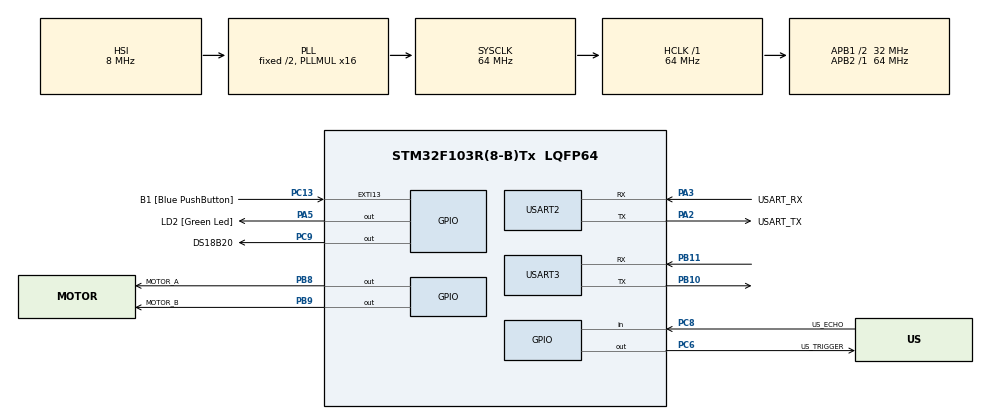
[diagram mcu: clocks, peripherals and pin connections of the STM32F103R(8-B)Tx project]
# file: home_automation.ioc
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Mcu.Family=STM32F1
Mcu.Name=STM32F103R(8-B)Tx
Mcu.Package=LQFP64
NVIC.EXTI15_10_IRQn=true\:0\:0\:false\:false\:true\:true\:true
NVIC.PriorityGroup=NVIC_PRIORITYGROUP_4
NVIC.USART2_IRQn=true\:0\:0\:false\:false\:true\:true\:true
NVIC.USART3_IRQn=true\:0\:0\:false\:false\:true\:true\:true
PA13.GPIO_Label=TMS
PA13.Mode=Serial_Wire
PA13.Signal=SYS_JTMS-SWDIO
PA14.GPIO_Label=TCK
PA14.Mode=Serial_Wire
PA14.Signal=SYS_JTCK-SWCLK
PA2.GPIO_Label=USART_TX
PA2.GPIO_Mode=GPIO_MODE_AF_PP
PA2.GPIO_PuPd=GPIO_NOPULL
PA2.GPIO_Speed=GPIO_SPEED_FREQ_LOW
PA2.Mode=Asynchronous
PA2.Signal=USART2_TX
PA3.GPIO_Label=USART_RX
PA3.GPIO_Mode=GPIO_MODE_AF_PP
PA3.GPIO_PuPd=GPIO_NOPULL
PA3.GPIO_Speed=GPIO_SPEED_FREQ_LOW
PA3.Mode=Asynchronous
PA3.Signal=USART2_RX
PA5.GPIO_Label=LD2 [Green Led]
PA5.GPIO_ModeDefaultOutputPP=GPIO_MODE_OUTPUT_PP
PA5.GPIO_PuPd=GPIO_NOPULL
PA5.GPIO_Speed=GPIO_SPEED_FREQ_LOW
PA5.Signal=GPIO_Output
PB10.Mode=Asynchronous
PB10.Signal=USART3_TX
PB11.Mode=Asynchronous
PB11.Signal=USART3_RX
PB3.GPIO_Label=SWO
PB3.Signal=SYS_JTDO-TRACESWO
PB8.GPIO_Label=MOTOR_A
PB8.Signal=GPIO_Output
PB9.GPIO_Label=MOTOR_B
PB9.Signal=GPIO_Output
PC13-TAMPER-RTC.GPIO_Label=B1 [Blue PushButton]
PC13-TAMPER-RTC.GPIO_PuPd=GPIO_NOPULL
PC13-TAMPER-RTC.Signal=GPXTI13
PC14-OSC32_IN.Mode=LSE-External-Oscillator
PC14-OSC32_IN.Signal=RCC_OSC32_IN
PC15-OSC32_OUT.Mode=LSE-External-Oscillator
PC15-OSC32_OUT.Signal=RCC_OSC32_OUT
PC6.GPIO_Label=US_TRIGGER
PC6.Signal=GPIO_Output
PC8.GPIO_Label=US_ECHO
PC8.Signal=GPIO_Input
PC9.GPIO_Label=DS18B20
PC9.Signal=GPIO_Output
PD0-OSC_IN.Mode=HSE-External-Clock-Source
PD0-OSC_IN.Signal=RCC_OSC_IN
PD1-OSC_OUT.Mode=HSE-External-Clock-Source
PD1-OSC_OUT.Signal=RCC_OSC_OUT
ProjectManager.HeapSize=0x200
ProjectManager.StackSize=0x400
ProjectManager.TargetToolchain=STM32CubeIDE
RCC.AHBFreq_Value=64000000
RCC.APB1CLKDivider=RCC_HCLK_DIV2
RCC.APB1Freq_Value=32000000
RCC.APB1TimFreq_Value=64000000
RCC.APB2Freq_Value=64000000
RCC.APB2TimFreq_Value=64000000
RCC.HCLKFreq_Value=64000000
RCC.PLLMUL=RCC_PLL_MUL16
RCC.RTCClockSelection=RCC_RTCCLKSOURCE_LSE
RCC.SYSCLKFreq_VALUE=64000000
RCC.SYSCLKSource=RCC_SYSCLKSOURCE_PLLCLK
RCC.USBFreq_Value=64000000
TIM3.Period=65535
TIM3.Prescaler=63
USART2.VirtualMode=VM_ASYNC
USART3.VirtualMode=VM_ASYNC
VP_TIM3_VS_ClockSourceINT.Mode=Internal
board=NUCLEO-F103RB

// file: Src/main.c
/* USER CODE BEGIN Header */
/**
  ******************************************************************************
  * @file           : main.c
  * @brief          : Main program body
  ******************************************************************************
  * @attention
  *
  * <h2><center>&copy; Copyright (c) 2020 STMicroelectronics.
  * All rights reserved.</center></h2>
  *
  * This software component is licensed by ST under BSD 3-Clause license,
  * the "License"; You may not use this file except in compliance with the
  * License. You may obtain a copy of the License at:
  *                        opensource.org/licenses/BSD-3-Clause
  *
  ******************************************************************************
  */
/* USER CODE END Header */

#include "main.h"

/* USER CODE BEGIN Includes */
#include "onewire.h"
#include "ds18b20.h"
#include "string.h"
/* USER CODE END Includes */

/* USER CODE BEGIN PD */
#define MOTOR_OPEN_COMMAND		('a')
#define MOTOR_CLOSE_COMMAND		('b')
#define MOTOR_HOLD_COMMAND		('c')
/* USER CODE END PD */

TIM_HandleTypeDef htim3;

UART_HandleTypeDef huart2;
UART_HandleTypeDef huart3;

/* USER CODE BEGIN PV */
volatile uint8_t Received;
char motor_command;

float temperature;
char message[64];

uint32_t sensor_time;
uint32_t distance;

/* USER CODE END PV */

void SystemClock_Config(void);
static void MX_GPIO_Init(void);
static void MX_USART2_UART_Init(void);
static void MX_USART3_UART_Init(void);
static void MX_TIM3_Init(void);
/* USER CODE BEGIN PFP */
void motor_open(void);
void motor_close(void);
void motor_hold(void);

void delay (uint32_t us);
uint32_t hcsr04_read (void);

/* USER CODE END PFP */

int main(void)
{

  /* MCU Configuration--------------------------------------------------------*/

  /* Reset of all peripherals, Initializes the Flash interface and the Systick. */
  HAL_Init();

  /* Configure the system clock */
  SystemClock_Config();

  /* Initialize all configured peripherals */
  MX_GPIO_Init();
  MX_USART2_UART_Init();
  MX_USART3_UART_Init();
  MX_TIM3_Init();
  /* USER CODE BEGIN 2 */
  HAL_TIM_Base_Start(&htim3);
  HAL_UART_Receive_IT(&huart3, &Received, 1);
  DS18B20_Init(DS18B20_Resolution_12bits);

  /* USER CODE END 2 */

  /* Infinite loop */
  while (1)
  {

    /* USER CODE BEGIN 3 */
	  sensor_time = hcsr04_read();
	  distance  = sensor_time * .034/2;

	  DS18B20_ReadAll();
      DS18B20_StartAll();

      uint8_t ROM_tmp[1];
      uint8_t i;
      for(i = 0; i < DS18B20_Quantity(); i++)
      {
    	  if(DS18B20_GetTemperature(i, &temperature))
    	  {
    		  DS18B20_GetROM(i, ROM_tmp);
    		  memset(message, 0, sizeof(message));
    		  sprintf(message, "%u,%f", distance, temperature);
    		  HAL_UART_Transmit(&huart3, (uint8_t*)message, sizeof(message), 100); //uart to nodeMCU
    		  HAL_UART_Transmit(&huart2, (uint8_t*)message, sizeof(message), 100); //uart to port monitor
			}
		}
      HAL_UART_Transmit(&huart3, (uint8_t*)"\n", sizeof("\n"), 100);
      HAL_UART_Transmit(&huart2, (uint8_t*)"\n", sizeof("\n"), 100);
      HAL_Delay(1000);

      if(MOTOR_OPEN_COMMAND == motor_command && distance > 20)
      {
    	  motor_hold();
      }

      if(MOTOR_CLOSE_COMMAND == motor_command && distance < 5)
      {
    	  motor_hold();
      }
  }
  /* USER CODE END 3 */
}

void SystemClock_Config(void)
{
  RCC_OscInitTypeDef RCC_OscInitStruct = {0};
  RCC_ClkInitTypeDef RCC_ClkInitStruct = {0};

  /** Initializes the CPU, AHB and APB busses clocks
  */
  RCC_OscInitStruct.OscillatorType = RCC_OSCILLATORTYPE_HSI;
  RCC_OscInitStruct.HSIState = RCC_HSI_ON;
  RCC_OscInitStruct.HSICalibrationValue = RCC_HSICALIBRATION_DEFAULT;
  RCC_OscInitStruct.PLL.PLLState = RCC_PLL_ON;
  RCC_OscInitStruct.PLL.PLLSource = RCC_PLLSOURCE_HSI_DIV2;
  RCC_OscInitStruct.PLL.PLLMUL = RCC_PLL_MUL16;
  if (HAL_RCC_OscConfig(&RCC_OscInitStruct) != HAL_OK)
  {
    Error_Handler();
  }
  /** Initializes the CPU, AHB and APB busses clocks
  */
  RCC_ClkInitStruct.ClockType = RCC_CLOCKTYPE_HCLK|RCC_CLOCKTYPE_SYSCLK
                              |RCC_CLOCKTYPE_PCLK1|RCC_CLOCKTYPE_PCLK2;
  RCC_ClkInitStruct.SYSCLKSource = RCC_SYSCLKSOURCE_PLLCLK;
  RCC_ClkInitStruct.AHBCLKDivider = RCC_SYSCLK_DIV1;
  RCC_ClkInitStruct.APB1CLKDivider = RCC_HCLK_DIV2;
  RCC_ClkInitStruct.APB2CLKDivider = RCC_HCLK_DIV1;

  if (HAL_RCC_ClockConfig(&RCC_ClkInitStruct, FLASH_LATENCY_2) != HAL_OK)
  {
    Error_Handler();
  }
}

static void MX_TIM3_Init(void)
{

  TIM_ClockConfigTypeDef sClockSourceConfig = {0};
  TIM_MasterConfigTypeDef sMasterConfig = {0};

  htim3.Instance = TIM3;
  htim3.Init.Prescaler = 63;
  htim3.Init.CounterMode = TIM_COUNTERMODE_UP;
  htim3.Init.Period = 65535;
  htim3.Init.ClockDivision = TIM_CLOCKDIVISION_DIV1;
  htim3.Init.AutoReloadPreload = TIM_AUTORELOAD_PRELOAD_DISABLE;
  if (HAL_TIM_Base_Init(&htim3) != HAL_OK)
  {
    Error_Handler();
  }
  sClockSourceConfig.ClockSource = TIM_CLOCKSOURCE_INTERNAL;
  if (HAL_TIM_ConfigClockSource(&htim3, &sClockSourceConfig) != HAL_OK)
  {
    Error_Handler();
  }
  sMasterConfig.MasterOutputTrigger = TIM_TRGO_RESET;
  sMasterConfig.MasterSlaveMode = TIM_MASTERSLAVEMODE_DISABLE;
  if (HAL_TIMEx_MasterConfigSynchronization(&htim3, &sMasterConfig) != HAL_OK)
  {
    Error_Handler();
  }

}

static void MX_USART2_UART_Init(void)
{

  huart2.Instance = USART2;
  huart2.Init.BaudRate = 115200;
  huart2.Init.WordLength = UART_WORDLENGTH_8B;
  huart2.Init.StopBits = UART_STOPBITS_1;
  huart2.Init.Parity = UART_PARITY_NONE;
  huart2.Init.Mode = UART_MODE_TX_RX;
  huart2.Init.HwFlowCtl = UART_HWCONTROL_NONE;
  huart2.Init.OverSampling = UART_OVERSAMPLING_16;
  if (HAL_UART_Init(&huart2) != HAL_OK)
  {
    Error_Handler();
  }

}

static void MX_USART3_UART_Init(void)
{

  huart3.Instance = USART3;
  huart3.Init.BaudRate = 115200;
  huart3.Init.WordLength = UART_WORDLENGTH_8B;
  huart3.Init.StopBits = UART_STOPBITS_1;
  huart3.Init.Parity = UART_PARITY_NONE;
  huart3.Init.Mode = UART_MODE_TX_RX;
  huart3.Init.HwFlowCtl = UART_HWCONTROL_NONE;
  huart3.Init.OverSampling = UART_OVERSAMPLING_16;
  if (HAL_UART_Init(&huart3) != HAL_OK)
  {
    Error_Handler();
  }

}

static void MX_GPIO_Init(void)
{
  GPIO_InitTypeDef GPIO_InitStruct = {0};

  /* GPIO Ports Clock Enable */
  __HAL_RCC_GPIOC_CLK_ENABLE();
  __HAL_RCC_GPIOD_CLK_ENABLE();
  __HAL_RCC_GPIOA_CLK_ENABLE();
  __HAL_RCC_GPIOB_CLK_ENABLE();

  /*Configure GPIO pin Output Level */
  HAL_GPIO_WritePin(LD2_GPIO_Port, LD2_Pin, GPIO_PIN_RESET);

  /*Configure GPIO pin Output Level */
  HAL_GPIO_WritePin(GPIOC, US_TRIGGER_Pin|DS18B20_Pin, GPIO_PIN_RESET);

  /*Configure GPIO pin Output Level */
  HAL_GPIO_WritePin(GPIOB, MOTOR_A_Pin|MOTOR_B_Pin, GPIO_PIN_RESET);

  /*Configure GPIO pin : B1_Pin */
  GPIO_InitStruct.Pin = B1_Pin;
  GPIO_InitStruct.Mode = GPIO_MODE_IT_RISING;
  GPIO_InitStruct.Pull = GPIO_NOPULL;
  HAL_GPIO_Init(B1_GPIO_Port, &GPIO_InitStruct);

  /*Configure GPIO pin : LD2_Pin */
  GPIO_InitStruct.Pin = LD2_Pin;
  GPIO_InitStruct.Mode = GPIO_MODE_OUTPUT_PP;
  GPIO_InitStruct.Pull = GPIO_NOPULL;
  GPIO_InitStruct.Speed = GPIO_SPEED_FREQ_LOW;
  HAL_GPIO_Init(LD2_GPIO_Port, &GPIO_InitStruct);

  /*Configure GPIO pins : US_TRIGGER_Pin DS18B20_Pin */
  GPIO_InitStruct.Pin = US_TRIGGER_Pin|DS18B20_Pin;
  GPIO_InitStruct.Mode = GPIO_MODE_OUTPUT_PP;
  GPIO_InitStruct.Pull = GPIO_NOPULL;
  GPIO_InitStruct.Speed = GPIO_SPEED_FREQ_LOW;
  HAL_GPIO_Init(GPIOC, &GPIO_InitStruct);

  /*Configure GPIO pin : US_ECHO_Pin */
  GPIO_InitStruct.Pin = US_ECHO_Pin;
  GPIO_InitStruct.Mode = GPIO_MODE_INPUT;
  GPIO_InitStruct.Pull = GPIO_NOPULL;
  HAL_GPIO_Init(US_ECHO_GPIO_Port, &GPIO_InitStruct);

  /*Configure GPIO pins : MOTOR_A_Pin MOTOR_B_Pin */
  GPIO_InitStruct.Pin = MOTOR_A_Pin|MOTOR_B_Pin;
  GPIO_InitStruct.Mode = GPIO_MODE_OUTPUT_PP;
  GPIO_InitStruct.Pull = GPIO_NOPULL;
  GPIO_InitStruct.Speed = GPIO_SPEED_FREQ_LOW;
  HAL_GPIO_Init(GPIOB, &GPIO_InitStruct);

  /* EXTI interrupt init*/
  HAL_NVIC_SetPriority(EXTI15_10_IRQn, 0, 0);
  HAL_NVIC_EnableIRQ(EXTI15_10_IRQn);

}

/* USER CODE BEGIN 4 */
void HAL_UART_RxCpltCallback(UART_HandleTypeDef *huart) {

// uint8_t Data[50]; // Tablica przechowujaca wysylana wiadomosc.
// uint16_t size = 0; // Rozmiar wysylanej wiadomosci

// size = sprintf(Data, "Odebrana wiadomosc: %c\n\r",Received);
//
// HAL_UART_Transmit_IT(&huart3, Data, size); // Rozpoczecie nadawania danych z wykorzystaniem przerwan
 if (MOTOR_OPEN_COMMAND == Received && distance < 20)
 {
	 motor_open();
	 motor_command = Received;
 }
 else if (MOTOR_CLOSE_COMMAND == Received && distance > 5)
 {
	 motor_close();
	 motor_command = Received;
 }
 else if (MOTOR_HOLD_COMMAND == Received)
 {
	 motor_hold();
	 motor_command = Received;
 }

 HAL_UART_Receive_IT(&huart3, &Received, 1); // Ponowne włączenie nasłuchiwania
}

void motor_open(void)
{
	  HAL_GPIO_WritePin(MOTOR_A_GPIO_Port, MOTOR_A_Pin, GPIO_PIN_RESET);
	  HAL_GPIO_WritePin(MOTOR_B_GPIO_Port, MOTOR_B_Pin, GPIO_PIN_SET);
}

void motor_close(void)
{
	  HAL_GPIO_WritePin(MOTOR_A_GPIO_Port, MOTOR_A_Pin, GPIO_PIN_SET);
	  HAL_GPIO_WritePin(MOTOR_B_GPIO_Port, MOTOR_B_Pin, GPIO_PIN_RESET);
}

void motor_hold(void)
{
	  HAL_GPIO_WritePin(MOTOR_A_GPIO_Port, MOTOR_A_Pin, GPIO_PIN_RESET);
	  HAL_GPIO_WritePin(MOTOR_B_GPIO_Port, MOTOR_B_Pin, GPIO_PIN_RESET);
}

void delay (uint32_t us)
{
	__HAL_TIM_SET_COUNTER(&htim3, 0);
	while ((__HAL_TIM_GET_COUNTER(&htim3))<us);
}

uint32_t hcsr04_read(void)
{
	HAL_GPIO_WritePin(US_TRIGGER_GPIO_Port, US_TRIGGER_Pin, GPIO_PIN_RESET);
	delay(2);
	HAL_GPIO_WritePin(US_TRIGGER_GPIO_Port, US_TRIGGER_Pin, GPIO_PIN_SET);
	delay(10);
	HAL_GPIO_WritePin(US_TRIGGER_GPIO_Port, US_TRIGGER_Pin, GPIO_PIN_RESET);

	while (!(HAL_GPIO_ReadPin(US_ECHO_GPIO_Port, US_ECHO_Pin)));  	// wait for the ECHO pin to go high
	__HAL_TIM_SET_COUNTER(&htim3, 0);
	while (HAL_GPIO_ReadPin(US_ECHO_GPIO_Port, US_ECHO_Pin));		//measure high time
	return __HAL_TIM_GET_COUNTER(&htim3);
}
/* USER CODE END 4 */

void Error_Handler(void)
{
}

/************************ (C) COPYRIGHT STMicroelectronics *****END OF FILE****/
